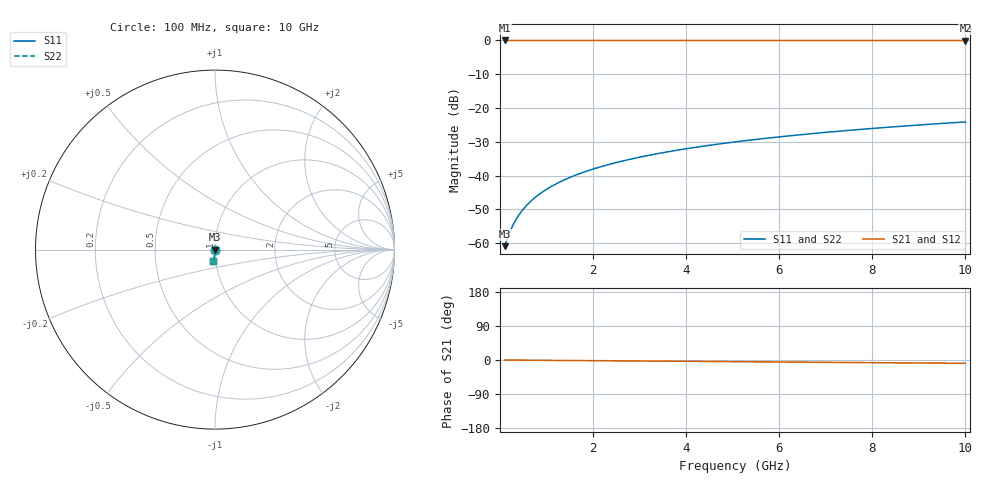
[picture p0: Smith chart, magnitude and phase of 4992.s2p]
# Hz S RI R 50.00
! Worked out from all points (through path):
!   100 points, 100 MHz to 10 GHz, reference 50 ohm
!   highest |S21| = -0.01 dB at 100 MHz (marker M1); lowest = 0.0 dB at 10 GHz (marker M2)
!   group delay of S21, straight-line fit = 2.44 ps
!   lowest |S11| = -60.9 dB at 100 MHz (marker M3), VSWR 1.00, Z = 50.1 - j0.0626 ohm
!   |S11| at or under -10 dB: start of sweep to end of sweep
!   |S22| runs from -60.9 to -24.1 dB; largest |S21 - S12| = 0
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1e8  0.000654 -0.000625  0.9993 -0.00153  0.9993 -0.00153  0.000654 -0.000625
2e8  0.000655 -0.00125  0.9993 -0.00306  0.9993 -0.00306  0.000655 -0.00125
3e8  0.000652 -0.00188  0.9993 -0.00459  0.9993 -0.00459  0.000652 -0.00188
4e8  0.000647 -0.0025  0.9993 -0.00612  0.9993 -0.00612  0.000647 -0.0025
5e8  0.00064 -0.00313  0.9993 -0.00765  0.9993 -0.00765  0.00064 -0.00313
6e8  0.00063 -0.00375  0.9993 -0.00918  0.9993 -0.00918  0.00063 -0.00375
7e8  0.000619 -0.00437  0.9993 -0.0107  0.9993 -0.0107  0.000619 -0.00437
9e8  0.000589 -0.00562  0.9992 -0.0138  0.9992 -0.0138  0.000589 -0.00562
1e9  0.000572 -0.00625  0.9992 -0.0153  0.9992 -0.0153  0.000572 -0.00625
1.2e9  0.00053 -0.0075  0.9991 -0.0184  0.9991 -0.0184  0.00053 -0.0075
1.5e9  0.000454 -0.00937  0.999 -0.0229  0.999 -0.0229  0.000454 -0.00937
1.8e9  0.000359 -0.0112  0.9989 -0.0275  0.9989 -0.0275  0.000359 -0.0112
2.1e9  0.000247 -0.0131  0.9987 -0.0321  0.9987 -0.0321  0.000247 -0.0131
2.5e9  7.14e-05 -0.0156  0.9984 -0.0382  0.9984 -0.0382  7.14e-05 -0.0156
2.9e9  -0.000135 -0.0181  0.9981 -0.0443  0.9981 -0.0443  -0.000135 -0.0181
3.4e9  -0.000437 -0.0212  0.9977 -0.052  0.9977 -0.052  -0.000437 -0.0212
4.2e9  -0.00102 -0.0262  0.9968 -0.0642  0.9968 -0.0642  -0.00102 -0.0262
5.1e9  -0.00182 -0.0318  0.9957 -0.0779  0.9957 -0.0779  -0.00182 -0.0318
5.9e9  -0.00266 -0.0367  0.9945 -0.0901  0.9945 -0.0901  -0.00266 -0.0367
6.7e9  -0.00362 -0.0416  0.9931 -0.1023  0.9931 -0.1023  -0.00362 -0.0416
8.4e9  -0.00607 -0.052  0.9895 -0.128  0.9895 -0.128  -0.00607 -0.052
1e10  -0.00886 -0.0617  0.9855 -0.1522  0.9855 -0.1522  -0.00886 -0.0617
